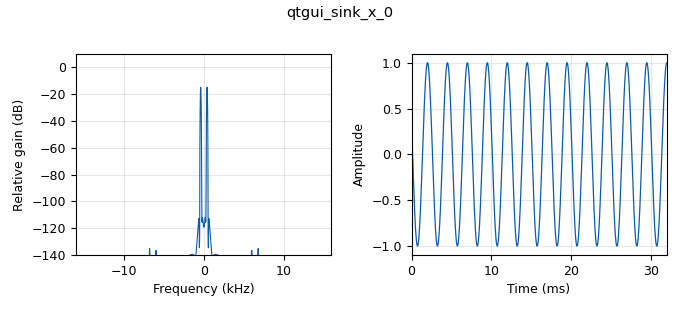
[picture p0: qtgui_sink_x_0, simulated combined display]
options:
  parameters:
    author: vivelpanel
    generate_options: qt_gui
    id: wvu_spectrometer_1
    output_language: python
    title: signal source
  states: {}

blocks:
- name: amplitude
  id: variable_qtgui_range
  parameters:
    label: Volume
    start: '0'
    step: '.01'
    stop: '1'
    value: '1'
  states: {}
- name: freq
  id: variable_qtgui_range
  parameters:
    label: Frequency
    start: '0'
    step: '100'
    stop: '10000'
    value: '400'
  states: {}
- name: samp_rate
  id: variable
  parameters:
    value: '32000'
  states: {}
- name: analog_sig_source_x_0
  id: analog_sig_source_x
  parameters:
    amp: amplitude
    freq: freq
    offset: '0'
    phase: '0'
    samp_rate: samp_rate
    type: float
    waveform: analog.GR_COS_WAVE
  states: {}
- name: audio_sink_0
  id: audio_sink
  parameters:
    samp_rate: samp_rate
  states: {}
- name: qtgui_sink_x_0
  id: qtgui_sink_x
  parameters:
    bw: samp_rate
    fc: '0'
    fftsize: '1024'
    type: float
  states: {}

connections:
- [analog_sig_source_x_0, '0', audio_sink_0, '0']
- [analog_sig_source_x_0, '0', qtgui_sink_x_0, '0']

metadata:
  file_format: 1
